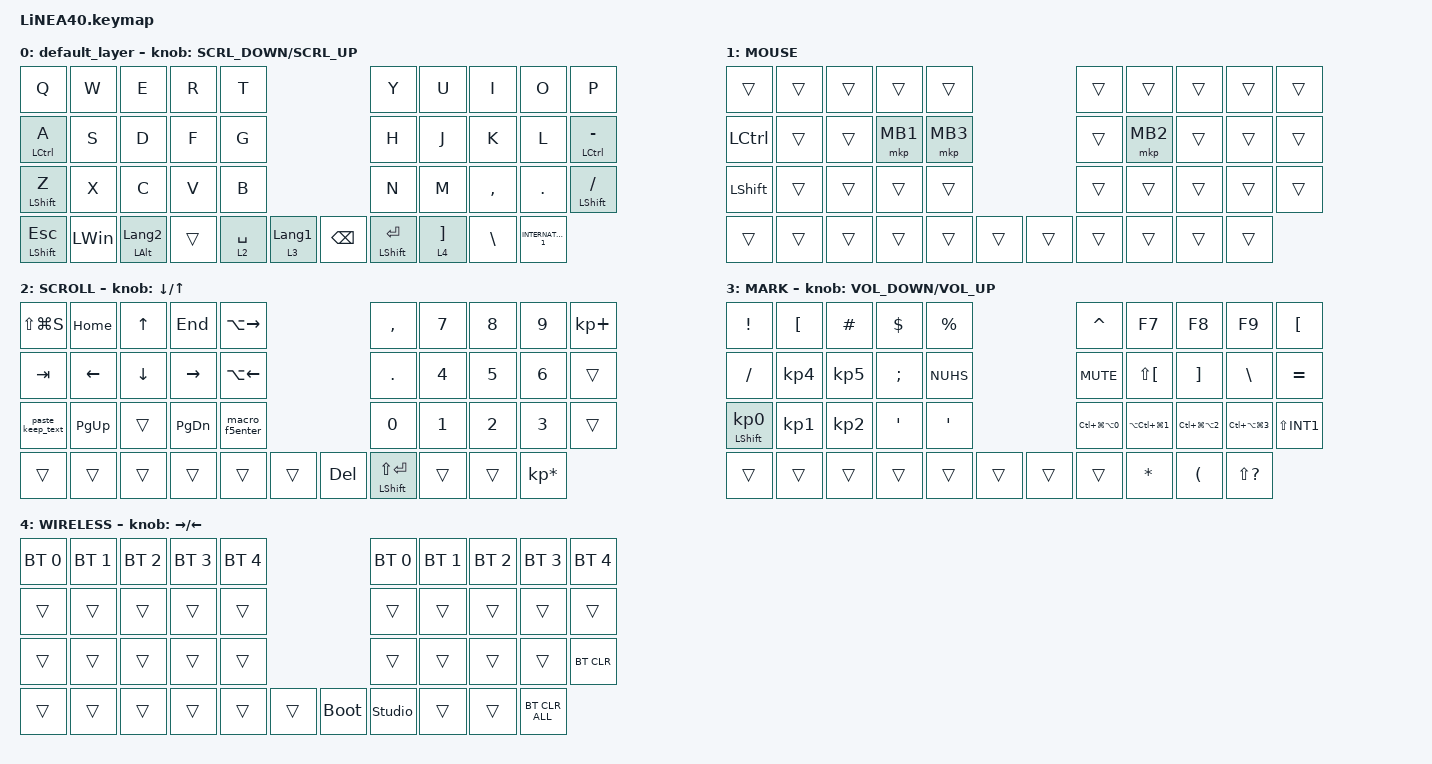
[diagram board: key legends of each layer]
#define ZMK_POINTING_DEFAULT_SCRL_VAL 150

#include <dt-bindings/zmk/input_transform.h>
#include <input/processors.dtsi>
#include <zephyr/dt-bindings/input/input-event-codes.h>
#include <input/processors.dtsi>
#include <behaviors.dtsi>
#include <dt-bindings/zmk/bt.h>
#include <dt-bindings/zmk/keys.h>
#include <dt-bindings/zmk/pointing.h>

#define MOUSE 1
#define MARK 2
#define CURSOR 3
#define FUNCTION 4
#define SCROLL 5
#define WIRELESS 6

//mouse cursol

&mmv {
    delay-ms = <20>;
    trigger-period-ms = <5>;
    time-to-max-speed-ms = <100>;
    acceleration-exponent = <2>;
};

//mouse scroll

&msc {
    delay-ms = <3>;
    trigger-period-ms = <3>;
    time-to-max-speed-ms = <100>;
    acceleration-exponent = <0>;
};

/ {
    input_processors {
        zip_wheel_scaler: zip_wheel_scaler {
            compatible = "zmk,input-processor-scaler";
            #input-processor-cells = <2>;
            type = <INPUT_EV_REL>;
            codes = <INPUT_REL_WHEEL>;
            track-remainders;
        };
    };
};

&msc_input_listener {
    speed_up {
        layers = <FUNCTION>;
        input-processors = <&zip_wheel_scaler 3 1>; //スクロールを3倍速にする
    };
};

&zip_temp_layer {
    require-prior-idle-ms = <200>;
    excluded-positions = <
        12 // D
        13 // F
        16 // J
    >;
};

&trackball_listener {
    scroller {
        layers = <SCROLL>;
        input-processors =
            <&zip_xy_transform INPUT_TRANSFORM_Y_INVERT>,
            //スクロール方向を逆転,,,,,,,,,,,,,,,,,,,,,,,,,,,,,,,,,,
            <&zip_xy_to_scroll_mapper>;
    };

    input-processors = <&zip_temp_layer 1 10000>;
};

/ {
    combos {
        compatible = "zmk,combos";

        ZenkakuHankaku {
            bindings = <&kp GRAVE>;
            key-positions = <11 12>;
        };

        DeleteKey {
            bindings = <&kp DEL>;
            key-positions = <7 8>;
        };

        InsertKey {
            bindings = <&kp INS>;
            key-positions = <6 7>;
        };

        CenterClick {
            bindings = <&mkp MB3>;
            key-positions = <17 16>;
        };

        RightClick {
            bindings = <&mkp MB2>;
            key-positions = <18 17>;
        };

        PrevClick {
            bindings = <&mkp MB4>;
            key-positions = <27 28>;
        };

        ClickNext {
            bindings = <&mkp MB5>;
            key-positions = <26 27>;
        };
    };

    behaviors {
        re_kp: sensor_rotate_kp {
            compatible = "zmk,behavior-sensor-rotate-var";
            #sensor-binding-cells = <2>;
            bindings = <&kp>, <&kp>;
        };

        mouse_scrl: mouse_wheel_scrl {
            compatible = "zmk,behavior-sensor-rotate-var";
            #sensor-binding-cells = <2>;
            bindings = <&msc>, <&msc>;

            tap-ms = <20>;
        };

        mt_shift: mt_shift {
            compatible = "zmk,behavior-hold-tap";
            label = "MT_SHIFT";
            bindings = <&kp>, <&kp>;

            #binding-cells = <2>;
            tapping-term-ms = <250>;
            quick-tap-ms = <175>;
            flavor = "balanced";
            require-prior-idle-ms = <150>;
        };
    };

    macros {
        macro_f5enter: macro_f5enter {
            compatible = "zmk,behavior-macro";
            #binding-cells = <0>;
            bindings = <&kp F5 &kp ENTER>;
            label = "MACRO_F5ENTER";
        };

        paste_keep_text: paste_keep_text {
            compatible = "zmk,behavior-macro";
            #binding-cells = <0>;
            bindings = <&kp LC(A) &kp LC(V) &kp LCTRL &kp RIGHT &kp RIGHT &kp ENTER>;
            label = "PASTE_KEEP_TEXT";
        };
    };

    keymap {
        compatible = "zmk,keymap";

        default_layer {
            bindings = <
&kp Q                     &kp W         &kp E                    &kp R   &kp T                                           &kp Y                 &kp U  &kp I                &kp O          &kp P
&mt_shift LEFT_CONTROL A  &kp S         &kp D                    &kp F   &kp G                                           &kp H                 &kp J  &kp K                &kp L          &mt LEFT_CONTROL MINUS
&mt_shift LEFT_SHIFT Z    &kp X         &kp C                    &kp V   &kp B                                           &kp N                 &kp M  &kp COMMA            &kp DOT        &mt LEFT_SHIFT SLASH
&mt LEFT_SHIFT ESCAPE     &kp LEFT_WIN  &mt LEFT_ALT LANGUAGE_2  &trans  &lt 2 SPACE  &lt 3 LANGUAGE_1    &kp BACKSPACE  &mt LEFT_SHIFT ENTER         &lt 4 RIGHT_BRACKET  &kp BACKSLASH  &kp INTERNATIONAL_1
            >;

            sensor-bindings = <&mouse_scrl SCRL_DOWN SCRL_UP>;
        };

        MOUSE {
            bindings = <
&trans          &trans  &trans  &trans    &trans                      &trans  &trans    &trans  &trans  &trans
&kp LCTRL       &trans  &trans  &mkp MB1  &mkp MB3                    &trans  &mkp MB2  &trans  &trans  &trans
&kp LEFT_SHIFT  &trans  &trans  &trans    &trans                      &trans  &trans    &trans  &trans  &trans
&trans          &trans  &trans  &trans    &trans    &trans    &trans  &trans            &trans  &trans  &trans
            >;
        };

        SCROLL {
            bindings = <
&kp LS(LG(S))     &kp HOME        &kp UP_ARROW  &kp END          &kp LA(RIGHT_ARROW)                        &kp COMMA                 &kp NUMBER_7  &kp NUMBER_8  &kp NUMBER_9  &kp KP_PLUS
&kp TAB           &kp LEFT_ARROW  &kp DOWN      &kp RIGHT_ARROW  &kp LA(LEFT_ARROW)                         &kp DOT                   &kp NUMBER_4  &kp NUMBER_5  &kp NUMBER_6  &trans
&paste_keep_text  &kp PAGE_UP     &trans        &kp PAGE_DOWN    &macro_f5enter                             &kp NUMBER_0              &kp NUMBER_1  &kp NUMBER_2  &kp NUMBER_3  &trans
&trans            &trans          &trans        &trans           &trans               &trans    &kp DELETE  &mt LEFT_SHIFT LS(ENTER)                &trans        &trans        &kp KP_MULTIPLY
            >;

            sensor-bindings = <&inc_dec_kp DOWN_ARROW UP_ARROW>;
        };

        MARK {
            bindings = <
&kp EXCLAMATION             &kp LBKT         &kp HASH         &kp DOLLAR     &kp PERCENT                    &kp CARET                 &kp F7                    &kp F8                    &kp F9                    &kp LBKT
&kp SLASH                   &kp KP_NUMBER_4  &kp KP_NUMBER_5  &kp SEMICOLON  &kp NUHS                       &kp C_MUTE                &kp LS(LBKT)              &kp RIGHT_BRACKET         &kp BACKSLASH             &kp EQUAL
&mt LEFT_SHIFT KP_NUMBER_0  &kp KP_NUMBER_1  &kp KP_NUMBER_2  &kp APOS       &kp SQT                        &kp LC(LG(LA(NUMBER_0)))  &kp LA(LC(LG(NUMBER_1)))  &kp LC(LG(LA(NUMBER_2)))  &kp LC(LA(LG(NUMBER_3)))  &kp LS(INT1)
&trans                      &trans           &trans           &trans         &trans       &trans    &trans  &trans                                              &kp ASTERISK              &kp LEFT_PARENTHESIS      &kp LS(QUESTION)
            >;

            sensor-bindings = <&re_kp C_VOLUME_DOWN C_VOLUME_UP>;
        };

        WIRELESS {
            bindings = <
&bt BT_SEL 0  &bt BT_SEL 1  &bt BT_SEL 2  &bt BT_SEL 3  &bt BT_SEL 4                         &bt BT_SEL 0    &bt BT_SEL 1  &bt BT_SEL 2  &bt BT_SEL 3  &bt BT_SEL 4
&trans        &trans        &trans        &trans        &trans                               &trans          &trans        &trans        &trans        &trans
&trans        &trans        &trans        &trans        &trans                               &trans          &trans        &trans        &trans        &bt BT_CLR
&trans        &trans        &trans        &trans        &trans        &trans    &bootloader  &studio_unlock                &trans        &trans        &bt BT_CLR_ALL
            >;

            sensor-bindings = <&inc_dec_kp RIGHT_ARROW LEFT_ARROW>;
        };
    };
};
